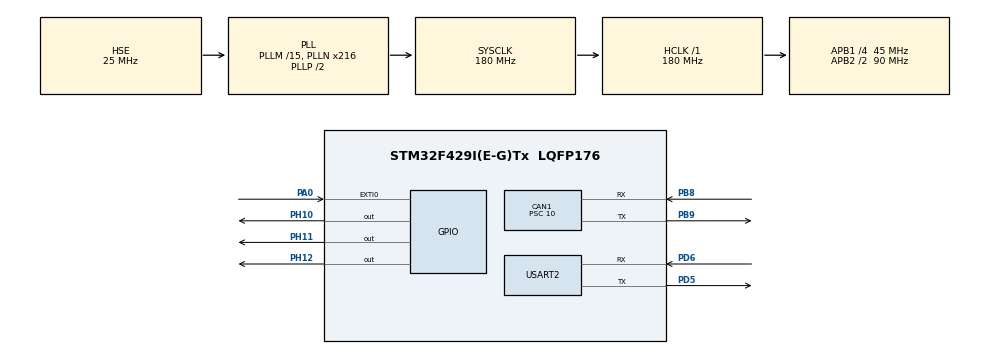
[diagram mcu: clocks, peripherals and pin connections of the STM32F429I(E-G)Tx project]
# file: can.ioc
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CAN1.BS1=CAN_BS1_5TQ
CAN1.BS2=CAN_BS2_3TQ
CAN1.CalculateTimeQuantum=222.22222222222223
CAN1.Prescaler=10
FREERTOS.Tasks01=defaultTask,0,128,StartDefaultTask,Default,NULL
Mcu.Family=STM32F4
Mcu.Name=STM32F429I(E-G)Tx
Mcu.Package=LQFP176
NVIC.EXTI0_IRQn=true\:5\:0\:false\:false\:true\:true\:true
NVIC.PriorityGroup=NVIC_PRIORITYGROUP_4
NVIC.TIM1_UP_TIM10_IRQn=true\:0\:0\:false\:false\:true\:false\:false
NVIC.TimeBase=TIM1_UP_TIM10_IRQn
NVIC.TimeBaseIP=TIM10
PA0/WKUP.Signal=GPXTI0
PB8.Mode=Master
PB8.Signal=CAN1_RX
PB9.Mode=Master
PB9.Signal=CAN1_TX
PD5.Mode=Asynchronous
PD5.Signal=USART2_TX
PD6.Mode=Asynchronous
PD6.Signal=USART2_RX
PH0/OSC_IN.Mode=HSE-External-Oscillator
PH0/OSC_IN.Signal=RCC_OSC_IN
PH1/OSC_OUT.Mode=HSE-External-Oscillator
PH1/OSC_OUT.Signal=RCC_OSC_OUT
PH10.Signal=GPIO_Output
PH11.Signal=GPIO_Output
PH12.Signal=GPIO_Output
ProjectManager.HeapSize=0x200
ProjectManager.StackSize=0x400
ProjectManager.TargetToolchain=MDK-ARM V5
RCC.48MHZClocksFreq_Value=90000000
RCC.AHBFreq_Value=180000000
RCC.APB1CLKDivider=RCC_HCLK_DIV4
RCC.APB1Freq_Value=45000000
RCC.APB1TimFreq_Value=90000000
RCC.APB2CLKDivider=RCC_HCLK_DIV2
RCC.APB2Freq_Value=90000000
RCC.APB2TimFreq_Value=180000000
RCC.CortexFreq_Value=180000000
RCC.HCLKFreq_Value=180000000
RCC.HSE_VALUE=25000000
RCC.HSI_VALUE=16000000
RCC.LSE_VALUE=32768
RCC.PLLM=15
RCC.PLLN=216
RCC.PLLSourceVirtual=RCC_PLLSOURCE_HSE
RCC.SYSCLKFreq_VALUE=180000000
RCC.SYSCLKSource=RCC_SYSCLKSOURCE_PLLCLK
RCC.VCOOutputFreq_Value=360000000
USART2.VirtualMode=VM_ASYNC
VP_FREERTOS_VS_ENABLE.Mode=Enabled
VP_SYS_VS_tim10.Mode=TIM10
board=custom

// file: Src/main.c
/* USER CODE BEGIN Header */
/**
  ******************************************************************************
  * @file           : main.c
  * @brief          : Main program body
  ******************************************************************************
  * This notice applies to any and all portions of this file
  * that are not between comment pairs USER CODE BEGIN and
  * USER CODE END. Other portions of this file, whether
  * inserted by the user or by software development tools
  * are owned by their respective copyright owners.
  *
  * Copyright (c) 2019 STMicroelectronics International N.V.
  * All rights reserved.
  *
  * Redistribution and use in source and binary forms, with or without
  * modification, are permitted, provided that the following conditions are met:
  *
  * 1. Redistribution of source code must retain the above copyright notice,
  *    this list of conditions and the following disclaimer.
  * 2. Redistributions in binary form must reproduce the above copyright notice,
  *    this list of conditions and the following disclaimer in the documentation
  *    and/or other materials provided with the distribution.
  * 3. Neither the name of STMicroelectronics nor the names of other
  *    contributors to this software may be used to endorse or promote products
  *    derived from this software without specific written permission.
  * 4. This software, including modifications and/or derivative works of this
  *    software, must execute solely and exclusively on microcontroller or
  *    microprocessor devices manufactured by or for STMicroelectronics.
  * 5. Redistribution and use of this software other than as permitted under
  *    this license is void and will automatically terminate your rights under
  *    this license.
  *
  * THIS SOFTWARE IS PROVIDED BY STMICROELECTRONICS AND CONTRIBUTORS "AS IS"
  * AND ANY EXPRESS, IMPLIED OR STATUTORY WARRANTIES, INCLUDING, BUT NOT
  * LIMITED TO, THE IMPLIED WARRANTIES OF MERCHANTABILITY, FITNESS FOR A
  * PARTICULAR PURPOSE AND NON-INFRINGEMENT OF THIRD PARTY INTELLECTUAL PROPERTY
  * RIGHTS ARE DISCLAIMED TO THE FULLEST EXTENT PERMITTED BY LAW. IN NO EVENT
  * SHALL STMICROELECTRONICS OR CONTRIBUTORS BE LIABLE FOR ANY DIRECT, INDIRECT,
  * INCIDENTAL, SPECIAL, EXEMPLARY, OR CONSEQUENTIAL DAMAGES (INCLUDING, BUT NOT
  * LIMITED TO, PROCUREMENT OF SUBSTITUTE GOODS OR SERVICES; LOSS OF USE, DATA,
  * OR PROFITS; OR BUSINESS INTERRUPTION) HOWEVER CAUSED AND ON ANY THEORY OF
  * LIABILITY, WHETHER IN CONTRACT, STRICT LIABILITY, OR TORT (INCLUDING
  * NEGLIGENCE OR OTHERWISE) ARISING IN ANY WAY OUT OF THE USE OF THIS SOFTWARE,
  * EVEN IF ADVISED OF THE POSSIBILITY OF SUCH DAMAGE.
  *
  ******************************************************************************
  */
/* USER CODE END Header */

#include "main.h"
#include "cmsis_os.h"

CAN_HandleTypeDef hcan1;

UART_HandleTypeDef huart2;

osThreadId defaultTaskHandle;
/* USER CODE BEGIN PV */
static CAN_TxHeaderTypeDef TxHeader;
static CAN_RxHeaderTypeDef RxHeader;
static uint8_t TxData[8];
static uint8_t RxData[8];
static uint32_t TxMailbox;
CAN_FilterTypeDef  sFilterConfig;
/* USER CODE END PV */

void SystemClock_Config(void);
static void MX_GPIO_Init(void);
static void MX_USART2_UART_Init(void);
static void MX_CAN1_Init(void);
void StartDefaultTask(void const * argument);

int main(void)
{

  /* MCU Configuration--------------------------------------------------------*/

  /* Reset of all peripherals, Initializes the Flash interface and the Systick. */
  HAL_Init();

  /* Configure the system clock */
  SystemClock_Config();

  /* Initialize all configured peripherals */
  MX_GPIO_Init();
  MX_USART2_UART_Init();
  MX_CAN1_Init();
  /* USER CODE BEGIN 2 */

//	hcan1.pTxMsg=&TxMessage;
//	hcan1.pRxMsg=&RxMessage;
  sFilterConfig.FilterBank = 14;
  sFilterConfig.FilterMode = CAN_FILTERMODE_IDMASK;
  sFilterConfig.FilterScale = CAN_FILTERSCALE_32BIT;
  sFilterConfig.FilterIdHigh = 0x0000;
  sFilterConfig.FilterIdLow = 0x0000;
  sFilterConfig.FilterMaskIdHigh = 0x0000;
  sFilterConfig.FilterMaskIdLow = 0x0000;
  sFilterConfig.FilterFIFOAssignment = 0;
  sFilterConfig.FilterActivation = ENABLE;

	HAL_CAN_ConfigFilter(&hcan1, &sFilterConfig);
	HAL_CAN_Start(&hcan1);
	printf("cowis system start ...\r\n");
  /* USER CODE END 2 */

  /* Create the thread(s) */
  /* definition and creation of defaultTask */
  osThreadDef(defaultTask, StartDefaultTask, osPriorityNormal, 0, 128);
  defaultTaskHandle = osThreadCreate(osThread(defaultTask), NULL);

  /* Start scheduler */
  osKernelStart();

  /* We should never get here as control is now taken by the scheduler */

  /* Infinite loop */
  while (1)
  {

  }
}

void SystemClock_Config(void)
{
  RCC_OscInitTypeDef RCC_OscInitStruct = {0};
  RCC_ClkInitTypeDef RCC_ClkInitStruct = {0};

  /**Configure the main internal regulator output voltage
  */
  __HAL_RCC_PWR_CLK_ENABLE();
  __HAL_PWR_VOLTAGESCALING_CONFIG(PWR_REGULATOR_VOLTAGE_SCALE1);
  /**Initializes the CPU, AHB and APB busses clocks
  */
  RCC_OscInitStruct.OscillatorType = RCC_OSCILLATORTYPE_HSE;
  RCC_OscInitStruct.HSEState = RCC_HSE_ON;
  RCC_OscInitStruct.PLL.PLLState = RCC_PLL_ON;
  RCC_OscInitStruct.PLL.PLLSource = RCC_PLLSOURCE_HSE;
  RCC_OscInitStruct.PLL.PLLM = 15;
  RCC_OscInitStruct.PLL.PLLN = 216;
  RCC_OscInitStruct.PLL.PLLP = RCC_PLLP_DIV2;
  RCC_OscInitStruct.PLL.PLLQ = 4;
  if (HAL_RCC_OscConfig(&RCC_OscInitStruct) != HAL_OK)
  {
    Error_Handler();
  }
  /**Activate the Over-Drive mode
  */
  if (HAL_PWREx_EnableOverDrive() != HAL_OK)
  {
    Error_Handler();
  }
  /**Initializes the CPU, AHB and APB busses clocks
  */
  RCC_ClkInitStruct.ClockType = RCC_CLOCKTYPE_HCLK|RCC_CLOCKTYPE_SYSCLK
                              |RCC_CLOCKTYPE_PCLK1|RCC_CLOCKTYPE_PCLK2;
  RCC_ClkInitStruct.SYSCLKSource = RCC_SYSCLKSOURCE_PLLCLK;
  RCC_ClkInitStruct.AHBCLKDivider = RCC_SYSCLK_DIV1;
  RCC_ClkInitStruct.APB1CLKDivider = RCC_HCLK_DIV4;
  RCC_ClkInitStruct.APB2CLKDivider = RCC_HCLK_DIV2;

  if (HAL_RCC_ClockConfig(&RCC_ClkInitStruct, FLASH_LATENCY_5) != HAL_OK)
  {
    Error_Handler();
  }
}

static void MX_CAN1_Init(void)
{

  hcan1.Instance = CAN1;
  hcan1.Init.Prescaler = 10;
  hcan1.Init.Mode = CAN_MODE_NORMAL;
  hcan1.Init.SyncJumpWidth = CAN_SJW_1TQ;
  hcan1.Init.TimeSeg1 = CAN_BS1_5TQ;
  hcan1.Init.TimeSeg2 = CAN_BS2_3TQ;
  hcan1.Init.TimeTriggeredMode = DISABLE;
  hcan1.Init.AutoBusOff = DISABLE;
  hcan1.Init.AutoWakeUp = DISABLE;
  hcan1.Init.AutoRetransmission = DISABLE;
  hcan1.Init.ReceiveFifoLocked = DISABLE;
  hcan1.Init.TransmitFifoPriority = DISABLE;
  if (HAL_CAN_Init(&hcan1) != HAL_OK)
  {
    Error_Handler();
  }

}

static void MX_USART2_UART_Init(void)
{

  huart2.Instance = USART2;
  huart2.Init.BaudRate = 115200;
  huart2.Init.WordLength = UART_WORDLENGTH_8B;
  huart2.Init.StopBits = UART_STOPBITS_1;
  huart2.Init.Parity = UART_PARITY_NONE;
  huart2.Init.Mode = UART_MODE_TX_RX;
  huart2.Init.HwFlowCtl = UART_HWCONTROL_NONE;
  huart2.Init.OverSampling = UART_OVERSAMPLING_16;
  if (HAL_UART_Init(&huart2) != HAL_OK)
  {
    Error_Handler();
  }

}

static void MX_GPIO_Init(void)
{
  GPIO_InitTypeDef GPIO_InitStruct = {0};

  /* GPIO Ports Clock Enable */
  __HAL_RCC_GPIOH_CLK_ENABLE();
  __HAL_RCC_GPIOA_CLK_ENABLE();
  __HAL_RCC_GPIOD_CLK_ENABLE();
  __HAL_RCC_GPIOB_CLK_ENABLE();

  /*Configure GPIO pin Output Level */
  HAL_GPIO_WritePin(GPIOH, GPIO_PIN_10|GPIO_PIN_11|GPIO_PIN_12, GPIO_PIN_RESET);

  /*Configure GPIO pin : PA0 */
  GPIO_InitStruct.Pin = GPIO_PIN_0;
  GPIO_InitStruct.Mode = GPIO_MODE_IT_RISING;
  GPIO_InitStruct.Pull = GPIO_NOPULL;
  HAL_GPIO_Init(GPIOA, &GPIO_InitStruct);

  /*Configure GPIO pins : PH10 PH11 PH12 */
  GPIO_InitStruct.Pin = GPIO_PIN_10|GPIO_PIN_11|GPIO_PIN_12;
  GPIO_InitStruct.Mode = GPIO_MODE_OUTPUT_PP;
  GPIO_InitStruct.Pull = GPIO_NOPULL;
  GPIO_InitStruct.Speed = GPIO_SPEED_FREQ_LOW;
  HAL_GPIO_Init(GPIOH, &GPIO_InitStruct);

  /* EXTI interrupt init*/
  HAL_NVIC_SetPriority(EXTI0_IRQn, 5, 0);
  HAL_NVIC_EnableIRQ(EXTI0_IRQn);

}

/* USER CODE BEGIN 4 */
void delay(uint32_t num)
{

  uint32_t i,j;

  for(i=0;i < num; i++)
    for(j=0;j<0x800;j++);

}

int fputc(int ch, FILE *f)
{
	HAL_UART_Transmit(&huart2, (uint8_t *)&ch, 1, 0xffff);
	return ch;
}

void servo_locate_mode_set(uint8_t id, int32_t location, int32_t speed)
{
			int ubCounter = 0;
			uint8_t send_message_mode[8] = {0x2F, 0x60, 0x60, 0x00, 0x01, 0x00, 0x00, 0x00};		//工作模式指令
			uint8_t send_message_locate[8] = {0x23, 0x7A, 0x60, 0x00, 0x50, 0xC3, 0x00, 0x00};  //目标位置指令
			uint8_t send_message_speed[8] = {0x23, 0x81, 0x60, 0x00, 0x55, 0x55, 0x08, 0x00};   //梯形速度指令
			uint8_t send_message_control[8] = {0x2B, 0x40, 0x60, 0x00, 0x3F, 0x10, 0x00, 0x00}; //控制字指令

			//位置 赋值
			send_message_locate[4] = location & 0xff;
			send_message_locate[5] = (location >> 8) & 0xff;
			send_message_locate[6] = (location >> 16) & 0xff;
			send_message_locate[7] = (location >> 24) & 0xff;

			//梯形速度 赋值
			uint32_t temp_value = speed * 512 * 10000 / 1875;
			send_message_speed[4] = temp_value & 0xff;
			send_message_speed[5] = (temp_value >> 8) & 0xff;
			send_message_speed[6] = (temp_value >> 16) & 0xff;
			send_message_speed[7] = (temp_value >> 24) & 0xff;

			uint32_t std_ID = 0x600 | id;  //CAN 发送给舵机的标准ID

			//数据帧
			TxHeader.RTR = CAN_RTR_DATA;
			//帧类型为标准帧
			TxHeader.IDE = CAN_ID_STD;
			TxHeader.StdId=std_ID;
			TxHeader.TransmitGlobalTime = DISABLE;
			TxHeader.DLC = 8;

			if (HAL_CAN_AddTxMessage(&hcan1, &TxHeader, send_message_mode, &TxMailbox) != HAL_OK)
      {
          /* Transmission request Error */
         Error_Handler();
      }
			HAL_Delay(1);
			if (HAL_CAN_AddTxMessage(&hcan1, &TxHeader, send_message_speed, &TxMailbox) != HAL_OK)
      {
          /* Transmission request Error */
         Error_Handler();
      }
			HAL_Delay(1);
	//		printf("locate %d\n", location);

			if (HAL_CAN_AddTxMessage(&hcan1, &TxHeader, send_message_locate, &TxMailbox) != HAL_OK)
      {
          /* Transmission request Error */
         Error_Handler();
      }
			HAL_Delay(1);

			if (HAL_CAN_AddTxMessage(&hcan1, &TxHeader, send_message_control, &TxMailbox) != HAL_OK)
      {
          /* Transmission request Error */
         Error_Handler();
      }
			HAL_Delay(1);
}

void HAL_GPIO_EXTI_Callback(uint16_t GPIO_Pin)
{
	switch(GPIO_Pin)
	{
		case GPIO_PIN_0:
				servo_locate_mode_set(1, 1000, 10);
				printf("key press\r\n");
				break;
	}
}

/* USER CODE END 4 */

void StartDefaultTask(void const * argument)
{

  /* USER CODE BEGIN 5 */
  /* Infinite loop */
  for(;;)
  {
    osDelay(1000);
		printf("1 \r\n");
		HAL_GPIO_WritePin(GPIOH, GPIO_PIN_10, GPIO_PIN_RESET);
		HAL_GPIO_WritePin(GPIOH, GPIO_PIN_11, GPIO_PIN_SET);
		HAL_GPIO_WritePin(GPIOH, GPIO_PIN_12, GPIO_PIN_SET);
    osDelay(1000);
		HAL_GPIO_WritePin(GPIOH, GPIO_PIN_10, GPIO_PIN_SET);
		HAL_GPIO_WritePin(GPIOH, GPIO_PIN_11, GPIO_PIN_RESET);
		HAL_GPIO_WritePin(GPIOH, GPIO_PIN_12, GPIO_PIN_SET);
		printf("2 \r\n");
		osDelay(1000);
		HAL_GPIO_WritePin(GPIOH, GPIO_PIN_10, GPIO_PIN_SET);
		HAL_GPIO_WritePin(GPIOH, GPIO_PIN_11, GPIO_PIN_SET);
		HAL_GPIO_WritePin(GPIOH, GPIO_PIN_12, GPIO_PIN_RESET);
		printf("%f \r\n", 3.0);
  }
  /* USER CODE END 5 */
}

void HAL_TIM_PeriodElapsedCallback(TIM_HandleTypeDef *htim)
{
  if (htim->Instance == TIM10) {
    HAL_IncTick();
  }
}

void Error_Handler(void)
{
}

/************************ (C) COPYRIGHT STMicroelectronics *****END OF FILE****/
